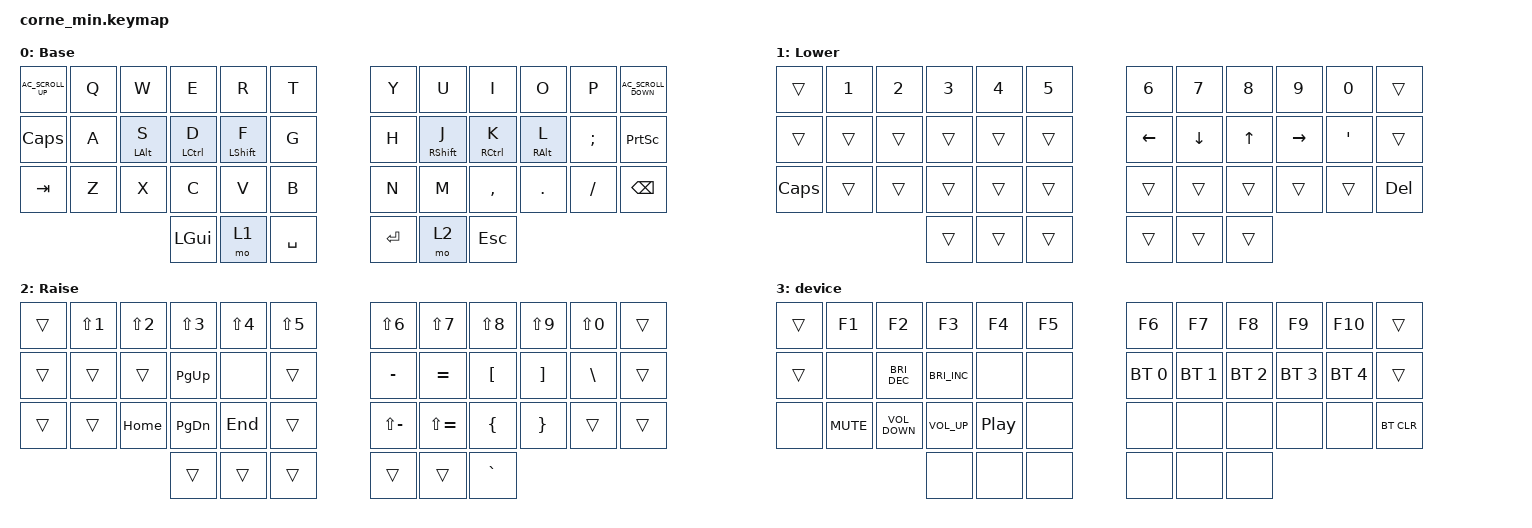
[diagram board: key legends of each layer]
/*
 * Copyright (c) 2020 The ZMK Contributors
 *
 * SPDX-License-Identifier: MIT
 */

#include <behaviors.dtsi>
#include <dt-bindings/zmk/keys.h>
#include <dt-bindings/zmk/bt.h>
/ {
    behaviors {
        // Plain mod-tap: hold only after tapping-term-ms with no other decision path.
        // No positional hold — that caused early mods on rolls with balanced/tap-preferred mix.
        hml: home_row_mod_left {
            compatible = "zmk,behavior-hold-tap";
            #binding-cells = <2>;
            flavor = "tap-preferred";
            tapping-term-ms = <175>;
            quick-tap-ms = <175>;
            require-prior-idle-ms = <150>;
            bindings = <&kp>, <&kp>;
        };

        hmr: home_row_mod_right {
            compatible = "zmk,behavior-hold-tap";
            #binding-cells = <2>;
            flavor = "tap-preferred";
            tapping-term-ms = <175>;
            quick-tap-ms = <175>;
            require-prior-idle-ms = <150>;
            bindings = <&kp>, <&kp>;
        };
    };

/ {
        keymap {
                compatible = "zmk,keymap";

                default_layer {
                            display-name = "Base";
// -----------------------------------------------------------------------------------------
// |  TAB |  Q  |  W  |  E  |  R  |  T  |   |  Y  |  U   |  I  |  O  |  P  | BSPC |
// | CTRL |  A  |  S  |  D  |  F  |  G  |   |  H  |  J   |  K  |  L  |  ;  |  '   |
// | SHFT |  Z  |  X  |  C  |  V  |  B  |   |  N  |  M   |  ,  |  .  |  /  | ESC  |
//                    | GUI | LWR | SPC |   | ENT | RSE  | ALT |
                        bindings = <
&kp C_AC_SCROLL_UP   	&kp Q		&kp W		&kp E  		&kp R		&kp T  	&kp Y  	&kp U		&kp I		&kp O		&kp P		&kp C_AC_SCROLL_DOWN
&kp CAPSLOCK 		&kp A		&hml LALT S  	&hml LCTRL D   	&hml LSHFT F  	&kp G   &kp H   &hmr RSHFT J    &hmr RCTRL K   	&hmr RALT L 	&kp SEMI 	&kp PRINTSCREEN
&kp TAB			&kp Z		&kp X		&kp C     	&kp V  		&kp B    	&kp N   	&kp M           &kp COMMA      &kp DOT  	&kp FSLH  	&kp BSPC
                         				&kp LGUI  	&mo 1  		&kp SPACE    	&kp RET		&mo 2		&kp ESC

                        >;
                };
                lower_layer {
                        display-name = "Lower";
// -----------------------------------------------------------------------------------------
// |  TAB |  1  |  2  |  3  |  4  |  5  |   |  6  |  7  |  8  |  9  |  0  | BSPC |
// | BTCLR| BT1 | BT2 | BT3 | BT4 | BT5 |   | LFT | DWN |  UP | RGT |     |      |
// | SHFT |     |     |     |     |     |   |     |     |     |     |     |      |
//                    | GUI |     | SPC |   | ENT |     | ALT |
                        bindings = <

&trans       		&kp N1		&kp N2		&kp N3		&kp N4		&kp N5	&kp N6		&kp N7          &kp N8      	&kp N9		&kp N0  	&trans       
&trans			&trans		&trans      	&trans   	&trans		&trans	&kp LEFT	&kp DOWN	&kp UP		&kp RIGHT	&kp APOS 	&trans	
&kp CAPS		&trans		&trans		&trans		&trans		&trans	&trans		&trans		&trans		&trans		&trans		&kp DEL
                                        		&trans     	&trans          &trans  &trans   	&trans 		&trans
                        >;
                };

                raise_layer {
                        display-name = "Raise";
// -----------------------------------------------------------------------------------------
// |  TAB |  !  |  @  |  #  |  $  |  %  |   |  ^  |  &  |  *  |  (  |  )  | BSPC |
// | CTRL |     |     |     |     |     |   |  -  |  =  |  [  |  ]  |  \  |  `   |
// | SHFT |     |     |     |     |     |   |  _  |  +  |  {  |  }  | "|" |  ~   |
//                    | GUI |     | SPC |   | ENT |     | ALT |
                        bindings = <


&trans			&kp LS(N1)	&kp LS(N2)	&kp LS(N3)	&kp LS(N4)	&kp LS(N5)	&kp LS(N6)	&kp LS(N7)	&kp LS(N8)	&kp LS(N9)	&kp LS(N0)	&trans
&trans			&trans	 	&trans          &kp PG_UP	&none		&trans		&kp MINUS   	&kp EQUAL       &kp LBKT	&kp RBKT 	&kp BSLH 	&trans
&trans  		&trans		&kp HOME	&kp PG_DN	&kp END		&trans		&kp LS(MINUS) 	&kp LS(EQUAL)   &kp LBRC  	&kp RBRC  	&trans  	&trans 
							&trans		&trans           &trans          &trans		&trans		&kp GRAVE

                        >;
                };

        	device {
            bindings = <
&trans               	&kp F1       	&kp F2                  &kp F3              	&kp F4            &kp F5       &kp F6       &kp F7          	&kp F8         &kp F9       &kp F10 		&trans
&trans              	&none        	&kp C_BRIGHTNESS_DEC    &kp C_BRIGHTNESS_INC 	&none             &none        &bt BT_SEL 0 &bt BT_SEL 1  	&bt BT_SEL 2   &bt BT_SEL 3 &bt BT_SEL 4 	&trans
&none			&kp K_MUTE  	&kp C_VOLUME_DOWN       &kp C_VOLUME_UP     	&kp C_PLAY_PAUSE  &none        &none        &none          	&none          &none        &none        	&bt BT_CLR
                                                		&none               	&none             &none        &none        &none           	&none
            		>;
        	};                
		extra2 {
                        display-name = "Extra-2";
                        status = "reserved";
                };

        	extra3 {
                        display-name = "Extra-3";
                        status = "reserved";
                };
        };
	conditional_layers {
        compatible = "zmk,conditional-layers";

        device {
            if-layers = <1 2>;
            then-layer = <3>;
        };
    };
};
